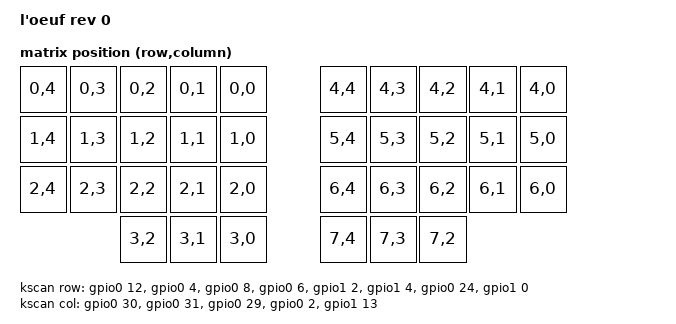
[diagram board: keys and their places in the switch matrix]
/dts-v1/;
#include <nordic/nrf52840_qiaa.dtsi>
#include <dt-bindings/zmk/matrix_transform.h>
#include <physical_layouts.dtsi>

#include "le_oeuf-pinctrl.dtsi"
#include "le_oeuf-layouts.dtsi"

/ {
    model = "l'oeuf rev 0";
    compatible = "eggsworks,leoeuf";

    chosen {
        zephyr,code-partition = &code_partition;
        zephyr,sram = &sram0;
        zephyr,flash = &flash0;
        zmk,battery = &vbatt;
        zmk,kscan = &kscan;
        zmk,physical_layout = &physical_layout0;
    };

    default_transform: keymap_transform_0 {
        compatible = "zmk,matrix-transform";
        columns = <5>;
        rows = <8>;
        map = <
                     RC(0,4) RC(0,3) RC(0,2) RC(0,1) RC(0,0)  RC(4,4) RC(4,3) RC(4,2) RC(4,1) RC(4,0)
                     RC(1,4) RC(1,3) RC(1,2) RC(1,1) RC(1,0)  RC(5,4) RC(5,3) RC(5,2) RC(5,1) RC(5,0) 
                     RC(2,4) RC(2,3) RC(2,2) RC(2,1) RC(2,0)  RC(6,4) RC(6,3) RC(6,2) RC(6,1) RC(6,0)
                                     RC(3,2) RC(3,1) RC(3,0)  RC(7,4) RC(7,3) RC(7,2)
        >;
    };

    kscan: kscan {
        compatible = "zmk,kscan-gpio-matrix";
        diode-direction = "row2col";
        wakeup-source;
        row-gpios
            = <&gpio0 12 GPIO_ACTIVE_HIGH>
            , <&gpio0  4 GPIO_ACTIVE_HIGH>
            , <&gpio0  8 GPIO_ACTIVE_HIGH>
            , <&gpio0  6 GPIO_ACTIVE_HIGH>
            , <&gpio1  2 GPIO_ACTIVE_HIGH>
            , <&gpio1  4 GPIO_ACTIVE_HIGH>
            , <&gpio0 24 GPIO_ACTIVE_HIGH>
            , <&gpio1  0 GPIO_ACTIVE_HIGH>
            ;
        col-gpios
            = <&gpio0 30 (GPIO_ACTIVE_HIGH | GPIO_PULL_DOWN)>
            , <&gpio0 31 (GPIO_ACTIVE_HIGH | GPIO_PULL_DOWN)>
            , <&gpio0 29 (GPIO_ACTIVE_HIGH | GPIO_PULL_DOWN)>
            , <&gpio0  2 (GPIO_ACTIVE_HIGH | GPIO_PULL_DOWN)>
            , <&gpio1 13 (GPIO_ACTIVE_HIGH | GPIO_PULL_DOWN)>
            ;
    };

    vbatt: vbatt {
        compatible = "zmk,battery-nrf-vddh";
        label = "BATTERY";
    };

    keys {
        compatible = "gpio-keys";
        soft_off_key: soft_off_key {
            gpios = <&gpio0 26 (GPIO_ACTIVE_LOW | GPIO_PULL_UP)>;
        };
    };

    behaviors {
        hw_soft_off: hw_soft_off {
            compatible = "zmk,behavior-soft-off";
            #binding-cells = <0>;
            hold-time-ms = <1000>;
        };
    };

    soft_off_direct_scan: soft_off_direct_scan {
        compatible = "zmk,kscan-gpio-direct";
        input-keys = <&soft_off_key>;
        wakeup-source;
    };

    side_band_behavior_triggers: side_band_behavior_triggers {
        compatible = "zmk,kscan-sideband-behaviors";

        kscan = <&soft_off_direct_scan>;
        auto-enable;
        wakeup-source;

        soft_off {
            column = <0>;
            row = <0>;
            bindings = <&hw_soft_off>;
        };
    };

    soft_off_wakers {
        compatible = "zmk,soft-off-wakeup-sources";
        wakeup-sources = <&soft_off_direct_scan>;
    };

};

&adc {
    status = "okay";
};

&gpiote {
    status = "okay";
};

&gpio0 {
    status = "okay";
};

&gpio1 {
    status = "okay";
};

zephyr_udc0: &usbd {
    status = "okay";
};

&flash0 {
    partitions {
        compatible = "fixed-partitions";
        #address-cells = <1>;
        #size-cells = <1>;
        sd_partition: partition@0 {
            label = "softdevice";
            reg = <0x00000000 0x00026000>;
        };
        code_partition: partition@26000 {
            label = "code_partition";
            reg = <0x00026000 0x000c6000>;
        };
        storage_partition: partition@ec000 {
            label = "storage";
            reg = <0x000ec000 0x00008000>;
        };
        boot_partition: partition@f4000 {
            label = "adafruit_boot";
            reg = <0x000f4000 0x0000c000>;
        };
    };
};
